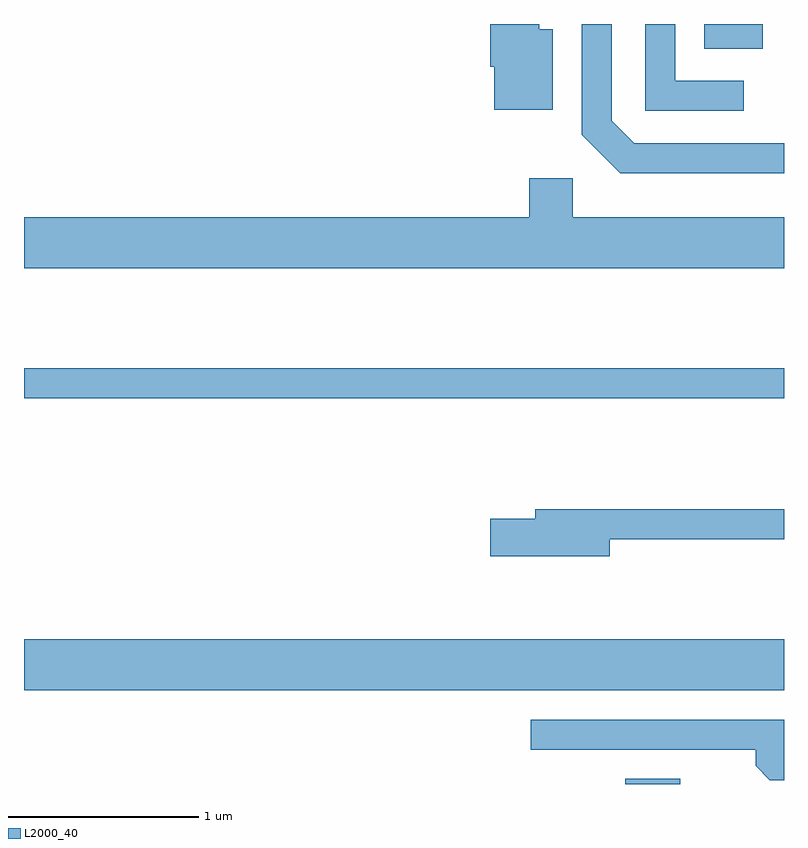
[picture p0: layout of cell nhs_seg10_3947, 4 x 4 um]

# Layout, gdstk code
import gdstk
lib = gdstk.Library(unit=1e-6, precision=1e-09)
def R(c, l, rs):  # rectangles x0, y0, x1, y1
    for r in rs: c.add(gdstk.rectangle(r[:2], r[2:], *l))
def P(c, l, *ps):  # polygons
    for p in ps: c.add(gdstk.Polygon(p, *l))
L2000_40 = (2000, 40)

nhs_seg10_3947 = lib.new_cell('nhs_seg10_3947')
R(nhs_seg10_3947, L2000_40, [(304.776,2124.522,305.064,2124.549), (301.611,2125.016,305.611,2125.284), (301.611,2126.551,305.611,2126.709), (305.191,2128.391,305.499,2128.522)])
P(nhs_seg10_3947, L2000_40, [(305.398,2128.224),(305.039,2128.224),(305.039,2128.522),(304.881,2128.522),(304.881,2128.066),(305.398,2128.066)],
  [(304.394,2128.494),(304.324,2128.494),(304.324,2128.522),(304.066,2128.522),(304.066,2128.296),(304.086,2128.296),(304.086,2128.071),(304.394,2128.071)],
  [(305.611,2127.894),(304.822,2127.894),(304.704,2128.012),(304.704,2128.522),(304.546,2128.522),(304.546,2127.939),(304.749,2127.736),(305.611,2127.736)],
  [(305.611,2127.504),(304.499,2127.504),(304.499,2127.709),(304.271,2127.709),(304.271,2127.504),(301.611,2127.504),(301.611,2127.236),(305.611,2127.236)],
  [(304.694,2125.811),(305.611,2125.811),(305.611,2125.969),(304.301,2125.969),(304.301,2125.919),(304.066,2125.919),(304.066,2125.721),(304.694,2125.721)],
  [(305.611,2124.859),(304.278,2124.859),(304.278,2124.701),(305.461,2124.701),(305.461,2124.617),(305.537,2124.541),(305.611,2124.541)])

lib.write_gds('nhs_seg10_3947.gds')
